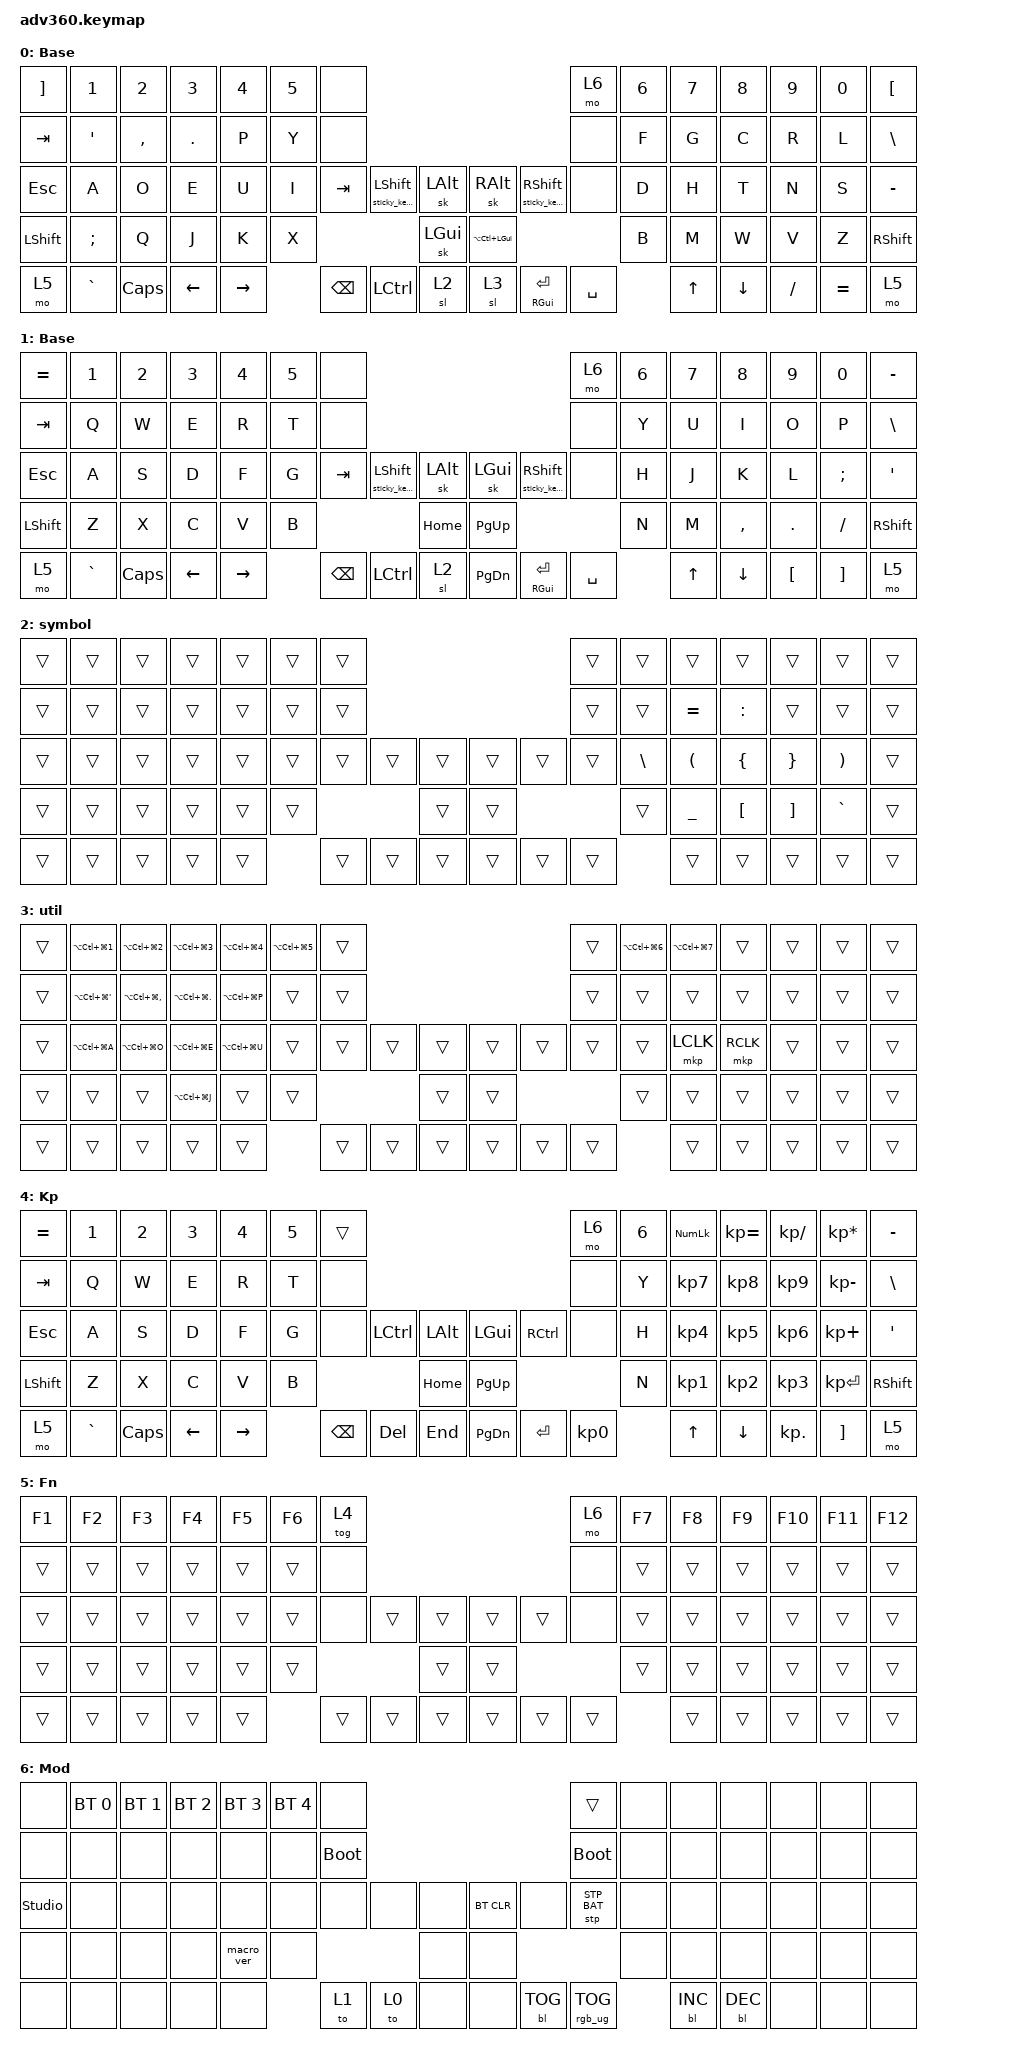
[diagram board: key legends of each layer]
#include <dt-bindings/zmk/stp.h>
#include <behaviors.dtsi>
#include <dt-bindings/zmk/backlight.h>
#include <dt-bindings/zmk/bt.h>
#include <dt-bindings/zmk/keys.h>
#include <dt-bindings/zmk/pointing.h>
#include <dt-bindings/zmk/rgb.h>

/ {
    behaviors {
        #include "macros.dtsi"
      #include "version.dtsi"

        hm: homerow_mods {
            compatible = "zmk,behavior-hold-tap";
            label = "HOMEROW_MODS";
            #binding-cells = <2>;
            tapping-term-ms = <200>;
            quick_tap_ms = <175>;
            flavor = "tap-preferred";
            bindings = <&kp>, <&kp>;
        };

        sticky_key_quick_release: sticky_key_quick_release {
            compatible = "zmk,behavior-sticky-key";
            label = "STICKY_KEY_QUICK_RELEASE";
            bindings = <&kp>;
            #binding-cells = <1>;
            release-after-ms = <1000>;
            quick-release;
        };
    };

    keymap {
        compatible = "zmk,keymap";

        dvorak {
            display-name = "Base";
            bindings = <
&kp RIGHT_BRACKET  &kp N1         &kp N2     &kp N3      &kp N4     &kp N5  &none                                                                                                                          &mo 6      &kp N6  &kp N7  &kp N8    &kp N9     &kp N0     &kp LEFT_BRACKET
&kp TAB            &kp SQT        &kp COMMA  &kp PERIOD  &kp P      &kp Y   &none                                                                                                                          &none      &kp F   &kp G   &kp C     &kp R      &kp L      &kp BSLH
&kp ESC            &kp A          &kp O      &kp E       &kp U      &kp I   &kp TAB   &sticky_key_quick_release LEFT_SHIFT  &sk LALT          &sk RALT              &sticky_key_quick_release RIGHT_SHIFT  &none      &kp D   &kp H   &kp T     &kp N      &kp S      &kp MINUS
&kp LSHFT          &kp SEMICOLON  &kp Q      &kp J       &kp K      &kp X                                                   &sk LEFT_GUI      &kp LA(LC(LEFT_GUI))                                                    &kp B   &kp M   &kp W     &kp V      &kp Z      &kp RSHFT
&mo 5              &kp GRAVE      &kp CAPS   &kp LEFT    &kp RIGHT          &kp BSPC  &kp LCTRL                             &sl 2             &sl 3                 &mt RIGHT_GUI ENTER                    &kp SPACE          &kp UP  &kp DOWN  &kp SLASH  &kp EQUAL  &mo 5
            >;
        };

        qwerty {
            display-name = "Base";
            bindings = <
&kp EQUAL  &kp N1     &kp N2    &kp N3    &kp N4     &kp N5  &none                                                                                                           &mo 6      &kp N6  &kp N7  &kp N8     &kp N9    &kp N0    &kp MINUS
&kp TAB    &kp Q      &kp W     &kp E     &kp R      &kp T   &none                                                                                                           &none      &kp Y   &kp U   &kp I      &kp O     &kp P     &kp BSLH
&kp ESC    &kp A      &kp S     &kp D     &kp F      &kp G   &kp TAB   &sticky_key_quick_release LEFT_SHIFT  &sk LALT      &sk LGUI   &sticky_key_quick_release RIGHT_SHIFT  &none      &kp H   &kp J   &kp K      &kp L     &kp SEMI  &kp SQT
&kp LSHFT  &kp Z      &kp X     &kp C     &kp V      &kp B                                                   &kp HOME      &kp PG_UP                                                    &kp N   &kp M   &kp COMMA  &kp DOT   &kp FSLH  &kp RSHFT
&mo 5      &kp GRAVE  &kp CAPS  &kp LEFT  &kp RIGHT          &kp BSPC  &kp LCTRL                             &sl 2         &kp PG_DN  &mt RIGHT_GUI ENTER                    &kp SPACE          &kp UP  &kp DOWN   &kp LBKT  &kp RBKT  &mo 5
            >;
        };

        symbol {
            bindings = <
&trans  &trans  &trans  &trans  &trans  &trans  &trans                                      &trans  &trans         &trans                &trans            &trans             &trans                 &trans
&trans  &trans  &trans  &trans  &trans  &trans  &trans                                      &trans  &trans         &kp EQUAL             &kp COLON         &trans             &trans                 &trans
&trans  &trans  &trans  &trans  &trans  &trans  &trans  &trans  &trans      &trans  &trans  &trans  &kp BACKSLASH  &kp LEFT_PARENTHESIS  &kp LEFT_BRACE    &kp RIGHT_BRACE    &kp RIGHT_PARENTHESIS  &trans
&trans  &trans  &trans  &trans  &trans  &trans                  &trans      &trans                  &trans         &kp UNDERSCORE        &kp LEFT_BRACKET  &kp RIGHT_BRACKET  &kp GRAVE              &trans
&trans  &trans  &trans  &trans  &trans          &trans  &trans  &trans      &trans  &trans  &trans                 &trans                &trans            &trans             &trans                 &trans
            >;
        };

        util {
            bindings = <
&trans  &kp LA(LC(LG(NUMBER_1)))  &kp LA(LC(LG(NUMBER_2)))  &kp LA(LC(LG(NUMBER_3)))  &kp LA(LC(LG(NUMBER_4)))  &kp LA(LC(LG(N5)))  &trans                                      &trans  &kp LA(LC(LG(NUMBER_6)))  &kp LA(LC(LG(NUMBER_7)))  &trans     &trans  &trans  &trans
&trans  &kp LA(LC(LG(SQT)))       &kp LA(LC(LG(COMMA)))     &kp LA(LC(LG(PERIOD)))    &kp LA(LC(LG(P)))         &trans              &trans                                      &trans  &trans                    &trans                    &trans     &trans  &trans  &trans
&trans  &kp LA(LC(LG(A)))         &kp LA(LC(LG(O)))         &kp LA(LC(LG(E)))         &kp LA(LC(LG(U)))         &trans              &trans  &trans  &trans      &trans  &trans  &trans  &trans                    &mkp LCLK                 &mkp RCLK  &trans  &trans  &trans
&trans  &trans                    &trans                    &kp LA(LC(LG(J)))         &trans                    &trans                              &trans      &trans                  &trans                    &trans                    &trans     &trans  &trans  &trans
&trans  &trans                    &trans                    &trans                    &trans                                        &trans  &trans  &trans      &trans  &trans  &trans                            &trans                    &trans     &trans  &trans  &trans
            >;
        };

        keypad {
            display-name = "Kp";
            bindings = <
&kp EQUAL  &kp N1     &kp N2    &kp N3    &kp N4     &kp N5  &trans                                                   &mo 6      &kp N6  &kp KP_NUM  &kp KP_EQUAL  &kp KP_DIVIDE  &kp KP_MULTIPLY  &kp MINUS
&kp TAB    &kp Q      &kp W     &kp E     &kp R      &kp T   &none                                                    &none      &kp Y   &kp KP_N7   &kp KP_N8     &kp KP_N9      &kp KP_MINUS     &kp BSLH
&kp ESC    &kp A      &kp S     &kp D     &kp F      &kp G   &none     &kp LCTRL  &kp LALT      &kp LGUI   &kp RCTRL  &none      &kp H   &kp KP_N4   &kp KP_N5     &kp KP_N6      &kp KP_PLUS      &kp SQT
&kp LSHFT  &kp Z      &kp X     &kp C     &kp V      &kp B                        &kp HOME      &kp PG_UP                        &kp N   &kp KP_N1   &kp KP_N2     &kp KP_N3      &kp KP_ENTER     &kp RSHFT
&mo 5      &kp GRAVE  &kp CAPS  &kp LEFT  &kp RIGHT          &kp BSPC  &kp DEL    &kp END       &kp PG_DN  &kp ENTER  &kp KP_N0          &kp UP      &kp DOWN      &kp KP_DOT     &kp RBKT         &mo 5
            >;
        };

        fn {
            display-name = "Fn";
            bindings = <
&kp F1  &kp F2  &kp F3  &kp F4  &kp F5  &kp F6  &tog 4                                      &mo 6   &kp F7  &kp F8  &kp F9  &kp F10  &kp F11  &kp F12
&trans  &trans  &trans  &trans  &trans  &trans  &none                                       &none   &trans  &trans  &trans  &trans   &trans   &trans
&trans  &trans  &trans  &trans  &trans  &trans  &none   &trans  &trans      &trans  &trans  &none   &trans  &trans  &trans  &trans   &trans   &trans
&trans  &trans  &trans  &trans  &trans  &trans                  &trans      &trans                  &trans  &trans  &trans  &trans   &trans   &trans
&trans  &trans  &trans  &trans  &trans          &trans  &trans  &trans      &trans  &trans  &trans          &trans  &trans  &trans   &trans   &trans
            >;
        };

        mod {
            display-name = "Mod";
            bindings = <
&none           &bt BT_SEL 0  &bt BT_SEL 1  &bt BT_SEL 2  &bt BT_SEL 3  &bt BT_SEL 4  &none                                                  &trans           &none  &none       &none       &none  &none  &none
&none           &none         &none         &none         &none         &none         &bootloader                                            &bootloader      &none  &none       &none       &none  &none  &none
&studio_unlock  &none         &none         &none         &none         &none         &none        &none  &none      &bt BT_CLR  &none       &stp STP_BAT     &none  &none       &none       &none  &none  &none
&none           &none         &none         &none         &macro_ver    &none                             &none      &none                                    &none  &none       &none       &none  &none  &none
&none           &none         &none         &none         &none                       &to 1        &to 0  &none      &none       &bl BL_TOG  &rgb_ug RGB_TOG         &bl BL_INC  &bl BL_DEC  &none  &none  &none
            >;
        };

        extra1 {
            display-name = "Red";
            status = "reserved";
        };

        extra2 {
            display-name = "Purple";
            status = "reserved";
        };

        extra3 {
            display-name = "Cyan";
            status = "reserved";
        };

        extra4 {
            display-name = "Yellow";
            status = "reserved";
        };
    };
};
